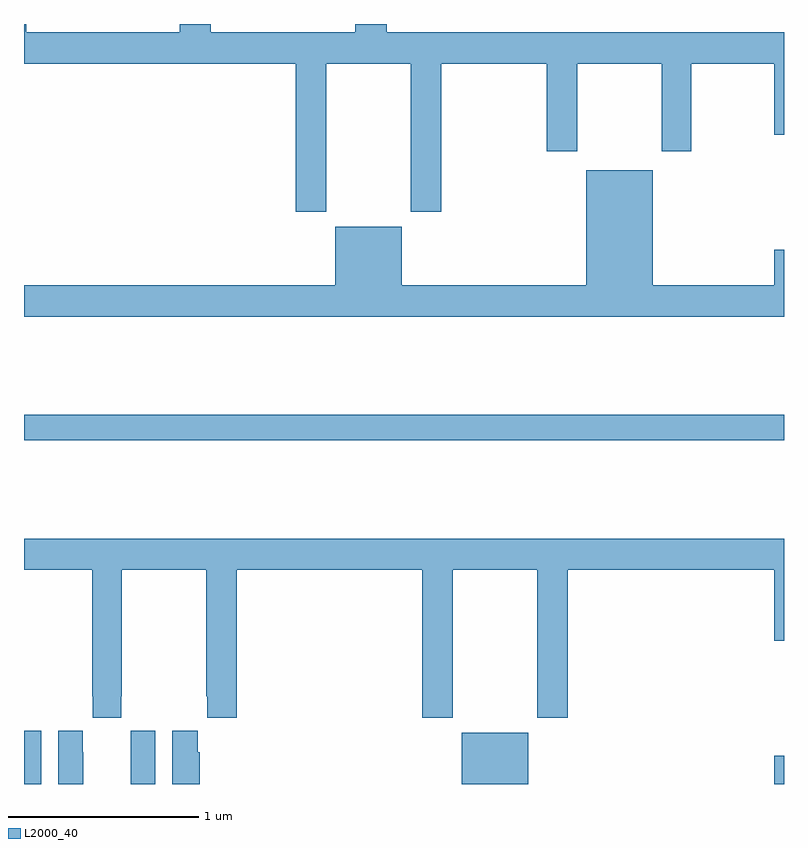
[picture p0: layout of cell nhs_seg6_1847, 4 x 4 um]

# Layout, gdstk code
import gdstk
lib = gdstk.Library(unit=1e-6, precision=1e-09)
def R(c, l, rs):  # rectangles x0, y0, x1, y1
    for r in rs: c.add(gdstk.rectangle(r[:2], r[2:], *l))
def P(c, l, *ps):  # polygons
    for p in ps: c.add(gdstk.Polygon(p, *l))
L2000_40 = (2000, 40)

nhs_seg6_1847 = lib.new_cell('nhs_seg6_1847')
R(nhs_seg6_1847, L2000_40, [(221,987.5,221.092,987.781), (223.304,987.5,223.654,987.769), (224.948,987.5,225,987.649), (221,989.308,225,989.444)])
P(nhs_seg6_1847, L2000_40, [(222.591,991.292),(223.036,991.292),(223.036,990.513),(223.196,990.513),(223.196,991.292),(223.751,991.292),(223.751,990.831),(223.911,990.831),(223.911,991.292),(224.356,991.292),(224.356,990.831),(224.511,990.831),(224.511,991.292),(224.948,991.292),(224.948,990.918),(225,990.918),(225,991.456),(222.908,991.456),(222.908,991.5),(222.743,991.5),(222.743,991.456),(221.984,991.456),(221.984,991.5),(221.819,991.5),(221.819,991.456),(221.012,991.456),(221.012,991.5),(221,991.5),(221,991.292),(222.431,991.292),(222.431,990.513),(222.591,990.513)],
  [(225,990.313),(224.948,990.313),(224.948,990.124),(224.308,990.124),(224.308,990.73),(223.958,990.73),(223.958,990.124),(222.988,990.124),(222.988,990.433),(222.638,990.433),(222.638,990.124),(221,990.124),(221,989.96),(225,989.96)],
  [(221.511,987.961),(221.514,987.961),(221.514,988.628),(221.959,988.628),(221.959,987.961),(221.965,987.961),(221.965,987.849),(222.119,987.849),(222.119,988.628),(223.097,988.628),(223.097,987.849),(223.257,987.849),(223.257,988.628),(223.702,988.628),(223.702,987.849),(223.862,987.849),(223.862,988.628),(224.948,988.628),(224.948,988.254),(225,988.254),(225,988.792),(221,988.792),(221,988.628),(221.359,988.628),(221.359,987.961),(221.361,987.961),(221.361,987.849),(221.511,987.849)],
  [(221.924,987.668),(221.914,987.668),(221.914,987.781),(221.78,987.781),(221.78,987.5),(221.924,987.5)],
  [(221.311,987.668),(221.31,987.668),(221.31,987.781),(221.18,987.781),(221.18,987.5),(221.311,987.5)],
  [(221.692,987.781),(221.562,987.781),(221.562,987.668),(221.561,987.668),(221.561,987.5),(221.692,987.5)])

lib.write_gds('nhs_seg6_1847.gds')
